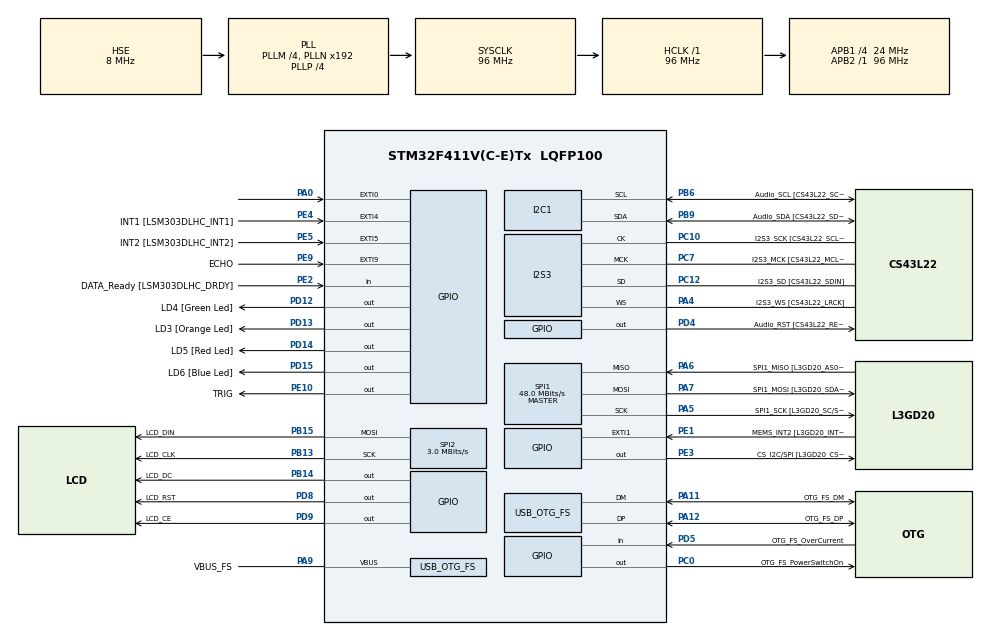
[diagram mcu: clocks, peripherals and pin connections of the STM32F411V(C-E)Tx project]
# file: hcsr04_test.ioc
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I2S3.AudioFreq=I2S_AUDIOFREQ_96K
I2S3.ErrorAudioFreq=-6.99 %
I2S3.FullDuplexMode=I2S_FULLDUPLEXMODE_DISABLE
I2S3.Instance=SPI$Index
I2S3.RealAudioFreq=89.285 KHz
I2S3.VirtualMode=I2S_MODE_MASTER
Mcu.Family=STM32F4
Mcu.Name=STM32F411V(C-E)Tx
Mcu.Package=LQFP100
NVIC.EXTI9_5_IRQn=true\:0\:0\:false\:false\:true\:true\:true\:true
NVIC.OTG_FS_IRQn=true\:0\:0\:false\:false\:true\:true\:true\:true
NVIC.PriorityGroup=NVIC_PRIORITYGROUP_0
NVIC.TIM1_UP_TIM10_IRQn=true\:0\:0\:false\:false\:true\:true\:true\:true
PA0-WKUP.GPIO_ModeDefaultEXTI=GPIO_MODE_EVT_RISING
PA0-WKUP.Signal=GPXTI0
PA10.GPIO_Label=OTG_FS_ID
PA10.Signal=USB_OTG_FS_ID
PA11.GPIO_Label=OTG_FS_DM
PA11.Mode=Host_Only
PA11.Signal=USB_OTG_FS_DM
PA12.GPIO_Label=OTG_FS_DP
PA12.Mode=Host_Only
PA12.Signal=USB_OTG_FS_DP
PA13.GPIO_Label=SWDIO
PA13.Mode=Serial_Wire
PA13.Signal=SYS_JTMS-SWDIO
PA14.GPIO_Label=SWCLK
PA14.Mode=Serial_Wire
PA14.Signal=SYS_JTCK-SWCLK
PA4.GPIO_Label=I2S3_WS [CS43L22_LRCK]
PA4.GPIO_Mode=GPIO_MODE_AF_PP
PA4.GPIO_PuPd=GPIO_NOPULL
PA4.GPIO_Speed=GPIO_SPEED_FREQ_LOW
PA4.Mode=Half_Duplex_Master
PA4.Signal=I2S3_WS
PA5.GPIO_Label=SPI1_SCK [L3GD20_SC/SPC]
PA5.Mode=Full_Duplex_Master
PA5.Signal=SPI1_SCK
PA6.GPIO_Label=SPI1_MISO [L3GD20_AS0/SDO]
PA6.Mode=Full_Duplex_Master
PA6.Signal=SPI1_MISO
PA7.GPIO_Label=SPI1_MOSI [L3GD20_SDA/SDI/SDO]
PA7.Mode=Full_Duplex_Master
PA7.Signal=SPI1_MOSI
PA9.GPIO_Label=VBUS_FS
PA9.Mode=Activate_VBUS
PA9.Signal=USB_OTG_FS_VBUS
PB10.GPIO_Label=CLK_IN [MP45DT02_CLK]
PB10.Signal=I2S2_CK
PB12.Signal=I2S2_WS
PB13.GPIO_Label=LCD_CLK
PB13.Mode=TX_Only_Simplex_Unidirect_Master
PB13.Signal=SPI2_SCK
PB14.GPIO_Label=LCD_DC
PB14.Signal=GPIO_Output
PB15.GPIO_Label=LCD_DIN
PB15.Mode=TX_Only_Simplex_Unidirect_Master
PB15.Signal=SPI2_MOSI
PB3.GPIO_Label=SWO
PB3.Signal=SYS_JTDO-SWO
PB6.GPIO_Label=Audio_SCL [CS43L22_SCL]
PB6.GPIO_Mode=GPIO_MODE_AF_OD
PB6.GPIO_Pu=GPIO_PULLUP
PB6.GPIO_PuPd=GPIO_NOPULL
PB6.GPIO_Speed=GPIO_SPEED_FREQ_LOW
PB6.Mode=I2C
PB6.Signal=I2C1_SCL
PB9.GPIO_Label=Audio_SDA [CS43L22_SDA]
PB9.GPIO_Mode=GPIO_MODE_AF_OD
PB9.GPIO_Pu=GPIO_PULLUP
PB9.GPIO_PuPd=GPIO_NOPULL
PB9.GPIO_Speed=GPIO_SPEED_FREQ_LOW
PB9.Mode=I2C
PB9.Signal=I2C1_SDA
PC0.GPIO_Label=OTG_FS_PowerSwitchOn
PC0.PinState=GPIO_PIN_SET
PC0.Signal=GPIO_Output
PC10.GPIO_Label=I2S3_SCK [CS43L22_SCLK]
PC10.GPIO_Mode=GPIO_MODE_AF_PP
PC10.GPIO_PuPd=GPIO_NOPULL
PC10.GPIO_Speed=GPIO_SPEED_FREQ_LOW
PC10.Mode=Half_Duplex_Master
PC10.Signal=I2S3_CK
PC12.GPIO_Label=I2S3_SD [CS43L22_SDIN]
PC12.GPIO_Mode=GPIO_MODE_AF_PP
PC12.GPIO_PuPd=GPIO_NOPULL
PC12.GPIO_Speed=GPIO_SPEED_FREQ_LOW
PC12.Mode=Half_Duplex_Master
PC12.Signal=I2S3_SD
PC14-OSC32_IN.GPIO_Label=PC14-OSC32_IN
PC14-OSC32_IN.Mode=LSE-External-Oscillator
PC14-OSC32_IN.Signal=RCC_OSC32_IN
PC15-OSC32_OUT.GPIO_Label=PC15-OSC32_OUT
PC15-OSC32_OUT.Mode=LSE-External-Oscillator
PC15-OSC32_OUT.Signal=RCC_OSC32_OUT
PC3.GPIO_Label=PDM_OUT [MP45DT02_DOUT]
PC3.Signal=I2S2_SD
PC7.GPIO_Label=I2S3_MCK [CS43L22_MCLK]
PC7.GPIO_Mode=GPIO_MODE_AF_PP
PC7.GPIO_PuPd=GPIO_NOPULL
PC7.GPIO_Speed=GPIO_SPEED_FREQ_LOW
PC7.Mode=Master_Clock_Activated
PC7.Signal=I2S3_MCK
PD12.GPIO_Label=LD4 [Green Led]
PD12.GPIO_PuPd=GPIO_NOPULL
PD12.GPIO_Speed=GPIO_SPEED_FREQ_LOW
PD12.Signal=GPIO_Output
PD13.GPIO_Label=LD3 [Orange Led]
PD13.GPIO_PuPd=GPIO_NOPULL
PD13.GPIO_Speed=GPIO_SPEED_FREQ_LOW
PD13.Signal=GPIO_Output
PD14.GPIO_Label=LD5 [Red Led]
PD14.GPIO_PuPd=GPIO_NOPULL
PD14.GPIO_Speed=GPIO_SPEED_FREQ_LOW
PD14.Signal=GPIO_Output
PD15.GPIO_Label=LD6 [Blue Led]
PD15.GPIO_PuPd=GPIO_NOPULL
PD15.GPIO_Speed=GPIO_SPEED_FREQ_LOW
PD15.Signal=GPIO_Output
PD4.GPIO_Label=Audio_RST [CS43L22_RESET]
PD4.Signal=GPIO_Output
PD5.GPIO_Label=OTG_FS_OverCurrent
PD5.Signal=GPIO_Input
PD8.GPIO_Label=LCD_RST
PD8.Signal=GPIO_Output
PD9.GPIO_Label=LCD_CE
PD9.Signal=GPIO_Output
PE1.GPIO_Label=MEMS_INT2 [L3GD20_INT2]
PE1.GPIO_ModeDefaultEXTI=GPIO_MODE_EVT_RISING
PE1.Signal=GPXTI1
PE10.GPIO_Label=TRIG
PE10.Signal=GPIO_Output
PE2.GPIO_Label=DATA_Ready [LSM303DLHC_DRDY]
PE2.Signal=GPIO_Input
PE3.GPIO_Label=CS_I2C/SPI [L3GD20_CS_I2C/SPI]
PE3.Signal=GPIO_Output
PE4.GPIO_Label=INT1 [LSM303DLHC_INT1]
PE4.GPIO_ModeDefaultEXTI=GPIO_MODE_EVT_RISING
PE4.Signal=GPXTI4
PE5.GPIO_Label=INT2 [LSM303DLHC_INT2]
PE5.GPIO_ModeDefaultEXTI=GPIO_MODE_EVT_RISING
PE5.Signal=GPXTI5
PE9.GPIO_Label=ECHO
PE9.GPIO_ModeDefaultEXTI=GPIO_MODE_IT_RISING_FALLING
PE9.Signal=GPXTI9
PH0\ -\ OSC_IN.GPIO_Label=PH0-OSC_IN
PH0\ -\ OSC_IN.Mode=HSE-External-Oscillator
PH0\ -\ OSC_IN.Signal=RCC_OSC_IN
PH1\ -\ OSC_OUT.GPIO_Label=PH1-OSC_OUT
PH1\ -\ OSC_OUT.Mode=HSE-External-Oscillator
PH1\ -\ OSC_OUT.Signal=RCC_OSC_OUT
ProjectManager.HeapSize=0x200
ProjectManager.StackSize=0x400
ProjectManager.TargetToolchain=STM32CubeIDE
RCC.48MHZClocksFreq_Value=48000000
RCC.AHBFreq_Value=96000000
RCC.APB1CLKDivider=RCC_HCLK_DIV4
RCC.APB1Freq_Value=24000000
RCC.APB1TimFreq_Value=48000000
RCC.APB2Freq_Value=96000000
RCC.APB2TimFreq_Value=96000000
RCC.CortexFreq_Value=96000000
RCC.HCLKFreq_Value=96000000
RCC.HSE_VALUE=8000000
RCC.HSI_VALUE=16000000
RCC.PLLI2SM=5
RCC.PLLI2SN=200
RCC.PLLM=4
RCC.PLLP=RCC_PLLP_DIV4
RCC.PLLQ=8
RCC.SYSCLKFreq_VALUE=96000000
RCC.SYSCLKSource=RCC_SYSCLKSOURCE_PLLCLK
RCC.VCOOutputFreq_Value=384000000
SPI1.BaudRatePrescaler=SPI_BAUDRATEPRESCALER_2
SPI1.CalculateBaudRate=48.0 MBits/s
SPI1.Direction=SPI_DIRECTION_2LINES
SPI1.Mode=SPI_MODE_MASTER
SPI1.VirtualType=VM_MASTER
SPI2.BaudRatePrescaler=SPI_BAUDRATEPRESCALER_8
SPI2.CalculateBaudRate=3.0 MBits/s
SPI2.Direction=SPI_DIRECTION_2LINES
SPI2.Mode=SPI_MODE_MASTER
SPI2.VirtualType=VM_MASTER
TIM10.Period=10000
TIM10.Prescaler=95
USB_HOST.BSP.number=1
USB_HOST.USBH_HandleTypeDef=hUsbHostFS
USB_HOST.VirtualModeFS=Cdc
USB_HOST0.BSP.STBoard=false
USB_HOST0.BSP.api=Unknown
USB_HOST0.BSP.instance=PC0
USB_HOST0.BSP.ip=GPIO
USB_HOST0.BSP.mode=Output
USB_HOST0.BSP.name=Drive_VBUS_FS
USB_HOST0.BSP.solution=PC0
USB_OTG_FS.VirtualMode=Host_Only
USB_OTG_FS.phy_itface=HCD_PHY_EMBEDDED
VP_TIM10_VS_ClockSourceINT.Mode=Enable_Timer
VP_USB_HOST_VS_USB_HOST_CDC_FS.Mode=CDC_FS
board=STM32F411E-DISCO

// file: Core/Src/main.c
/* USER CODE BEGIN Header */
/**
  ******************************************************************************
  * @file           : main.c
  * @brief          : Main program body
  ******************************************************************************
  * @attention
  *
  * Copyright (c) 2022 STMicroelectronics.
  * All rights reserved.
  *
  * This software is licensed under terms that can be found in the LICENSE file
  * in the root directory of this software component.
  * If no LICENSE file comes with this software, it is provided AS-IS.
  *
  ******************************************************************************
  */
/* USER CODE END Header */
#include "main.h"
#include "usb_host.h"

/* USER CODE BEGIN Includes */
#include "lcd5110.h"
/* USER CODE END Includes */

/* USER CODE BEGIN PTD */
typedef enum state_t {
 IDLE_S,
 WAITING_FOR_ECHO_START_S,
 WAITING_FOR_ECHO_STOP_S,
 ECHO_TIMEOUT_S,
 READING_DATA_S,
 ERROR_S
} state_t;
/* USER CODE END PTD */

/* USER CODE BEGIN PD */

#define NO_RESULT_TIME 38000
#define SystemCoreClockInMHz 96
#define OVERFLOW_VALUE 10000
#define REFRESH_DELAY 500000
#define TRIGGER_TIME 10 // 16 us
#define CONVERT_FROM_USECONDS_TO_DISTANCE_CM 58

/* USER CODE END PD */

I2C_HandleTypeDef hi2c1;

I2S_HandleTypeDef hi2s3;

SPI_HandleTypeDef hspi1;
SPI_HandleTypeDef hspi2;

TIM_HandleTypeDef htim10;

/* USER CODE BEGIN PV */
volatile uint32_t tim10_overflows = 0;

volatile state_t state = IDLE_S;

volatile uint32_t echo_start;
volatile uint32_t echo_finish;
volatile uint32_t measured_time;
/* USER CODE END PV */

void SystemClock_Config(void);
static void MX_GPIO_Init(void);
static void MX_I2C1_Init(void);
static void MX_I2S3_Init(void);
static void MX_SPI1_Init(void);
static void MX_SPI2_Init(void);
static void MX_TIM10_Init(void);
void MX_USB_HOST_Process(void);

/* USER CODE BEGIN PFP */
LCD5110_display lcd1;

void HAL_TIM_PeriodElapsedCallback(TIM_HandleTypeDef *htim)
{
  if( htim->Instance == TIM10 )
  {
   ++tim10_overflows;
  }
}

void TIM10_reinit()
{
 HAL_TIM_Base_Stop(&htim10);
  __HAL_TIM_SET_PRESCALER( &htim10, (SystemCoreClockInMHz-1) );
 __HAL_TIM_SET_COUNTER( &htim10, 0 );
 tim10_overflows = 0;
 HAL_TIM_Base_Start_IT(&htim10);
}

uint32_t get_tim10_us()
{
 __HAL_TIM_DISABLE_IT(&htim10, TIM_IT_UPDATE);
 uint32_t res = tim10_overflows * OVERFLOW_VALUE + __HAL_TIM_GET_COUNTER(&htim10);
 __HAL_TIM_ENABLE_IT(&htim10, TIM_IT_UPDATE);
 return res;
}

void udelay_TIM10(uint32_t useconds) {
 uint32_t before = get_tim10_us();
 while( get_tim10_us() < before+useconds){}
}

void HAL_GPIO_EXTI_Callback(uint16_t GPIO_Pin)
{
 if (GPIO_Pin == ECHO_Pin )
 {
  switch (state) {
  case WAITING_FOR_ECHO_START_S: {
   echo_start =  get_tim10_us();
   state = WAITING_FOR_ECHO_STOP_S;
   break;
  }
  case WAITING_FOR_ECHO_STOP_S: {
   echo_finish = get_tim10_us();
   measured_time = echo_finish - echo_start;
   if(measured_time>=NO_RESULT_TIME){
	   state = ECHO_TIMEOUT_S;
   } else {
	   state = READING_DATA_S;
   }
   break;
  }
  default:
   state = ERROR_S;
  }
 }
}
/* USER CODE END PFP */

int main(void)
{

  /* MCU Configuration--------------------------------------------------------*/

  /* Reset of all peripherals, Initializes the Flash interface and the Systick. */
  HAL_Init();

  /* Configure the system clock */
  SystemClock_Config();

  /* Initialize all configured peripherals */
  MX_GPIO_Init();
  MX_I2C1_Init();
  MX_I2S3_Init();
  MX_SPI1_Init();
  MX_USB_HOST_Init();
  MX_SPI2_Init();
  MX_TIM10_Init();
  /* USER CODE BEGIN 2 */
  LCD5110_display lcd;

  lcd.hw_conf.spi_handle = &hspi2;
  lcd.hw_conf.spi_cs_pin =  LCD_CE_Pin;
  lcd.hw_conf.spi_cs_port = LCD_CE_GPIO_Port;
  lcd.hw_conf.rst_pin =  LCD_RST_Pin;
  lcd.hw_conf.rst_port = LCD_RST_GPIO_Port;
  lcd.hw_conf.dc_pin =  LCD_DC_Pin;
  lcd.hw_conf.dc_port = LCD_DC_GPIO_Port;
  lcd.def_scr = lcd5110_def_scr;
  LCD5110_init(&lcd.hw_conf, LCD5110_NORMAL_MODE, 0x40, 2, 3);

  TIM10_reinit();

  /* USER CODE END 2 */

  /* Infinite loop */
  /* USER CODE BEGIN WHILE */
  while (1)
  {
	 HAL_GPIO_WritePin(TRIG_GPIO_Port, TRIG_Pin, GPIO_PIN_SET);
	 udelay_TIM10(TRIGGER_TIME);
	 HAL_GPIO_WritePin(TRIG_GPIO_Port, TRIG_Pin, GPIO_PIN_RESET);

	 __disable_irq();
	 state = WAITING_FOR_ECHO_START_S;
	 __enable_irq();

	 while( state == WAITING_FOR_ECHO_START_S && state != ERROR_S )
	 {}
	 if ( state == ERROR_S )
	 {
		 LCD5110_clear_scr(&lcd);
		 LCD5110_printf(&lcd, BLACK,"Error while waiting for ECHO to start.\n");
	     continue;
	 }

	 while( state == WAITING_FOR_ECHO_STOP_S && state != ERROR_S )
	 {}
	 if ( state == ERROR_S )
	 {
		 LCD5110_clear_scr(&lcd);
		 LCD5110_printf(&lcd, BLACK,"Error while waiting for ECHO to stop.\n");
	     continue;
	 }

	 if(state == ECHO_TIMEOUT_S) {
		 LCD5110_clear_scr(&lcd);
		 LCD5110_printf(&lcd, BLACK,"Unable to\n measure\n");
	 }
	 else{
		 uint32_t distance = measured_time/CONVERT_FROM_USECONDS_TO_DISTANCE_CM;
		 LCD5110_clear_scr(&lcd);
		 LCD5110_printf(&lcd, BLACK,"Distance: %lu cm\n", distance);
	 }

	 udelay_TIM10(REFRESH_DELAY);
    /* USER CODE END WHILE */
    MX_USB_HOST_Process();

  }
}

void SystemClock_Config(void)
{
  RCC_OscInitTypeDef RCC_OscInitStruct = {0};
  RCC_ClkInitTypeDef RCC_ClkInitStruct = {0};

  /** Configure the main internal regulator output voltage
  */
  __HAL_RCC_PWR_CLK_ENABLE();
  __HAL_PWR_VOLTAGESCALING_CONFIG(PWR_REGULATOR_VOLTAGE_SCALE1);

  /** Initializes the RCC Oscillators according to the specified parameters
  * in the RCC_OscInitTypeDef structure.
  */
  RCC_OscInitStruct.OscillatorType = RCC_OSCILLATORTYPE_HSE;
  RCC_OscInitStruct.HSEState = RCC_HSE_ON;
  RCC_OscInitStruct.PLL.PLLState = RCC_PLL_ON;
  RCC_OscInitStruct.PLL.PLLSource = RCC_PLLSOURCE_HSE;
  RCC_OscInitStruct.PLL.PLLM = 4;
  RCC_OscInitStruct.PLL.PLLN = 192;
  RCC_OscInitStruct.PLL.PLLP = RCC_PLLP_DIV4;
  RCC_OscInitStruct.PLL.PLLQ = 8;
  if (HAL_RCC_OscConfig(&RCC_OscInitStruct) != HAL_OK)
  {
    Error_Handler();
  }

  /** Initializes the CPU, AHB and APB buses clocks
  */
  RCC_ClkInitStruct.ClockType = RCC_CLOCKTYPE_HCLK|RCC_CLOCKTYPE_SYSCLK
                              |RCC_CLOCKTYPE_PCLK1|RCC_CLOCKTYPE_PCLK2;
  RCC_ClkInitStruct.SYSCLKSource = RCC_SYSCLKSOURCE_PLLCLK;
  RCC_ClkInitStruct.AHBCLKDivider = RCC_SYSCLK_DIV1;
  RCC_ClkInitStruct.APB1CLKDivider = RCC_HCLK_DIV4;
  RCC_ClkInitStruct.APB2CLKDivider = RCC_HCLK_DIV1;

  if (HAL_RCC_ClockConfig(&RCC_ClkInitStruct, FLASH_LATENCY_3) != HAL_OK)
  {
    Error_Handler();
  }
}

static void MX_I2C1_Init(void)
{

  hi2c1.Instance = I2C1;
  hi2c1.Init.ClockSpeed = 100000;
  hi2c1.Init.DutyCycle = I2C_DUTYCYCLE_2;
  hi2c1.Init.OwnAddress1 = 0;
  hi2c1.Init.AddressingMode = I2C_ADDRESSINGMODE_7BIT;
  hi2c1.Init.DualAddressMode = I2C_DUALADDRESS_DISABLE;
  hi2c1.Init.OwnAddress2 = 0;
  hi2c1.Init.GeneralCallMode = I2C_GENERALCALL_DISABLE;
  hi2c1.Init.NoStretchMode = I2C_NOSTRETCH_DISABLE;
  if (HAL_I2C_Init(&hi2c1) != HAL_OK)
  {
    Error_Handler();
  }

}

static void MX_I2S3_Init(void)
{

  hi2s3.Instance = SPI3;
  hi2s3.Init.Mode = I2S_MODE_MASTER_TX;
  hi2s3.Init.Standard = I2S_STANDARD_PHILIPS;
  hi2s3.Init.DataFormat = I2S_DATAFORMAT_16B;
  hi2s3.Init.MCLKOutput = I2S_MCLKOUTPUT_ENABLE;
  hi2s3.Init.AudioFreq = I2S_AUDIOFREQ_96K;
  hi2s3.Init.CPOL = I2S_CPOL_LOW;
  hi2s3.Init.ClockSource = I2S_CLOCK_PLL;
  hi2s3.Init.FullDuplexMode = I2S_FULLDUPLEXMODE_DISABLE;
  if (HAL_I2S_Init(&hi2s3) != HAL_OK)
  {
    Error_Handler();
  }

}

static void MX_SPI1_Init(void)
{

  /* SPI1 parameter configuration*/
  hspi1.Instance = SPI1;
  hspi1.Init.Mode = SPI_MODE_MASTER;
  hspi1.Init.Direction = SPI_DIRECTION_2LINES;
  hspi1.Init.DataSize = SPI_DATASIZE_8BIT;
  hspi1.Init.CLKPolarity = SPI_POLARITY_LOW;
  hspi1.Init.CLKPhase = SPI_PHASE_1EDGE;
  hspi1.Init.NSS = SPI_NSS_SOFT;
  hspi1.Init.BaudRatePrescaler = SPI_BAUDRATEPRESCALER_2;
  hspi1.Init.FirstBit = SPI_FIRSTBIT_MSB;
  hspi1.Init.TIMode = SPI_TIMODE_DISABLE;
  hspi1.Init.CRCCalculation = SPI_CRCCALCULATION_DISABLE;
  hspi1.Init.CRCPolynomial = 10;
  if (HAL_SPI_Init(&hspi1) != HAL_OK)
  {
    Error_Handler();
  }

}

static void MX_SPI2_Init(void)
{

  /* SPI2 parameter configuration*/
  hspi2.Instance = SPI2;
  hspi2.Init.Mode = SPI_MODE_MASTER;
  hspi2.Init.Direction = SPI_DIRECTION_2LINES;
  hspi2.Init.DataSize = SPI_DATASIZE_8BIT;
  hspi2.Init.CLKPolarity = SPI_POLARITY_LOW;
  hspi2.Init.CLKPhase = SPI_PHASE_1EDGE;
  hspi2.Init.NSS = SPI_NSS_SOFT;
  hspi2.Init.BaudRatePrescaler = SPI_BAUDRATEPRESCALER_8;
  hspi2.Init.FirstBit = SPI_FIRSTBIT_MSB;
  hspi2.Init.TIMode = SPI_TIMODE_DISABLE;
  hspi2.Init.CRCCalculation = SPI_CRCCALCULATION_DISABLE;
  hspi2.Init.CRCPolynomial = 10;
  if (HAL_SPI_Init(&hspi2) != HAL_OK)
  {
    Error_Handler();
  }

}

static void MX_TIM10_Init(void)
{

  htim10.Instance = TIM10;
  htim10.Init.Prescaler = 95;
  htim10.Init.CounterMode = TIM_COUNTERMODE_UP;
  htim10.Init.Period = 10000;
  htim10.Init.ClockDivision = TIM_CLOCKDIVISION_DIV1;
  htim10.Init.AutoReloadPreload = TIM_AUTORELOAD_PRELOAD_DISABLE;
  if (HAL_TIM_Base_Init(&htim10) != HAL_OK)
  {
    Error_Handler();
  }

}

static void MX_GPIO_Init(void)
{
  GPIO_InitTypeDef GPIO_InitStruct = {0};

  /* GPIO Ports Clock Enable */
  __HAL_RCC_GPIOE_CLK_ENABLE();
  __HAL_RCC_GPIOC_CLK_ENABLE();
  __HAL_RCC_GPIOH_CLK_ENABLE();
  __HAL_RCC_GPIOA_CLK_ENABLE();
  __HAL_RCC_GPIOB_CLK_ENABLE();
  __HAL_RCC_GPIOD_CLK_ENABLE();

  /*Configure GPIO pin Output Level */
  HAL_GPIO_WritePin(GPIOE, CS_I2C_SPI_Pin|TRIG_Pin, GPIO_PIN_RESET);

  /*Configure GPIO pin Output Level */
  HAL_GPIO_WritePin(OTG_FS_PowerSwitchOn_GPIO_Port, OTG_FS_PowerSwitchOn_Pin, GPIO_PIN_SET);

  /*Configure GPIO pin Output Level */
  HAL_GPIO_WritePin(LCD_DC_GPIO_Port, LCD_DC_Pin, GPIO_PIN_RESET);

  /*Configure GPIO pin Output Level */
  HAL_GPIO_WritePin(GPIOD, LCD_RST_Pin|LCD_CE_Pin|LD4_Pin|LD3_Pin
                          |LD5_Pin|LD6_Pin|Audio_RST_Pin, GPIO_PIN_RESET);

  /*Configure GPIO pin : DATA_Ready_Pin */
  GPIO_InitStruct.Pin = DATA_Ready_Pin;
  GPIO_InitStruct.Mode = GPIO_MODE_INPUT;
  GPIO_InitStruct.Pull = GPIO_NOPULL;
  HAL_GPIO_Init(DATA_Ready_GPIO_Port, &GPIO_InitStruct);

  /*Configure GPIO pins : CS_I2C_SPI_Pin TRIG_Pin */
  GPIO_InitStruct.Pin = CS_I2C_SPI_Pin|TRIG_Pin;
  GPIO_InitStruct.Mode = GPIO_MODE_OUTPUT_PP;
  GPIO_InitStruct.Pull = GPIO_NOPULL;
  GPIO_InitStruct.Speed = GPIO_SPEED_FREQ_LOW;
  HAL_GPIO_Init(GPIOE, &GPIO_InitStruct);

  /*Configure GPIO pins : INT1_Pin INT2_Pin MEMS_INT2_Pin */
  GPIO_InitStruct.Pin = INT1_Pin|INT2_Pin|MEMS_INT2_Pin;
  GPIO_InitStruct.Mode = GPIO_MODE_EVT_RISING;
  GPIO_InitStruct.Pull = GPIO_NOPULL;
  HAL_GPIO_Init(GPIOE, &GPIO_InitStruct);

  /*Configure GPIO pin : OTG_FS_PowerSwitchOn_Pin */
  GPIO_InitStruct.Pin = OTG_FS_PowerSwitchOn_Pin;
  GPIO_InitStruct.Mode = GPIO_MODE_OUTPUT_PP;
  GPIO_InitStruct.Pull = GPIO_NOPULL;
  GPIO_InitStruct.Speed = GPIO_SPEED_FREQ_LOW;
  HAL_GPIO_Init(OTG_FS_PowerSwitchOn_GPIO_Port, &GPIO_InitStruct);

  /*Configure GPIO pin : PDM_OUT_Pin */
  GPIO_InitStruct.Pin = PDM_OUT_Pin;
  GPIO_InitStruct.Mode = GPIO_MODE_AF_PP;
  GPIO_InitStruct.Pull = GPIO_NOPULL;
  GPIO_InitStruct.Speed = GPIO_SPEED_FREQ_LOW;
  GPIO_InitStruct.Alternate = GPIO_AF5_SPI2;
  HAL_GPIO_Init(PDM_OUT_GPIO_Port, &GPIO_InitStruct);

  /*Configure GPIO pin : PA0 */
  GPIO_InitStruct.Pin = GPIO_PIN_0;
  GPIO_InitStruct.Mode = GPIO_MODE_EVT_RISING;
  GPIO_InitStruct.Pull = GPIO_NOPULL;
  HAL_GPIO_Init(GPIOA, &GPIO_InitStruct);

  /*Configure GPIO pin : ECHO_Pin */
  GPIO_InitStruct.Pin = ECHO_Pin;
  GPIO_InitStruct.Mode = GPIO_MODE_IT_RISING_FALLING;
  GPIO_InitStruct.Pull = GPIO_NOPULL;
  HAL_GPIO_Init(ECHO_GPIO_Port, &GPIO_InitStruct);

  /*Configure GPIO pins : CLK_IN_Pin PB12 */
  GPIO_InitStruct.Pin = CLK_IN_Pin|GPIO_PIN_12;
  GPIO_InitStruct.Mode = GPIO_MODE_AF_PP;
  GPIO_InitStruct.Pull = GPIO_NOPULL;
  GPIO_InitStruct.Speed = GPIO_SPEED_FREQ_LOW;
  GPIO_InitStruct.Alternate = GPIO_AF5_SPI2;
  HAL_GPIO_Init(GPIOB, &GPIO_InitStruct);

  /*Configure GPIO pin : LCD_DC_Pin */
  GPIO_InitStruct.Pin = LCD_DC_Pin;
  GPIO_InitStruct.Mode = GPIO_MODE_OUTPUT_PP;
  GPIO_InitStruct.Pull = GPIO_NOPULL;
  GPIO_InitStruct.Speed = GPIO_SPEED_FREQ_LOW;
  HAL_GPIO_Init(LCD_DC_GPIO_Port, &GPIO_InitStruct);

  /*Configure GPIO pins : LCD_RST_Pin LCD_CE_Pin LD4_Pin LD3_Pin
                           LD5_Pin LD6_Pin Audio_RST_Pin */
  GPIO_InitStruct.Pin = LCD_RST_Pin|LCD_CE_Pin|LD4_Pin|LD3_Pin
                          |LD5_Pin|LD6_Pin|Audio_RST_Pin;
  GPIO_InitStruct.Mode = GPIO_MODE_OUTPUT_PP;
  GPIO_InitStruct.Pull = GPIO_NOPULL;
  GPIO_InitStruct.Speed = GPIO_SPEED_FREQ_LOW;
  HAL_GPIO_Init(GPIOD, &GPIO_InitStruct);

  /*Configure GPIO pin : OTG_FS_OverCurrent_Pin */
  GPIO_InitStruct.Pin = OTG_FS_OverCurrent_Pin;
  GPIO_InitStruct.Mode = GPIO_MODE_INPUT;
  GPIO_InitStruct.Pull = GPIO_NOPULL;
  HAL_GPIO_Init(OTG_FS_OverCurrent_GPIO_Port, &GPIO_InitStruct);

  /* EXTI interrupt init*/
  HAL_NVIC_SetPriority(EXTI9_5_IRQn, 0, 0);
  HAL_NVIC_EnableIRQ(EXTI9_5_IRQn);

}

void Error_Handler(void)
{
  __disable_irq();
  while (1)
  {
  }
}
